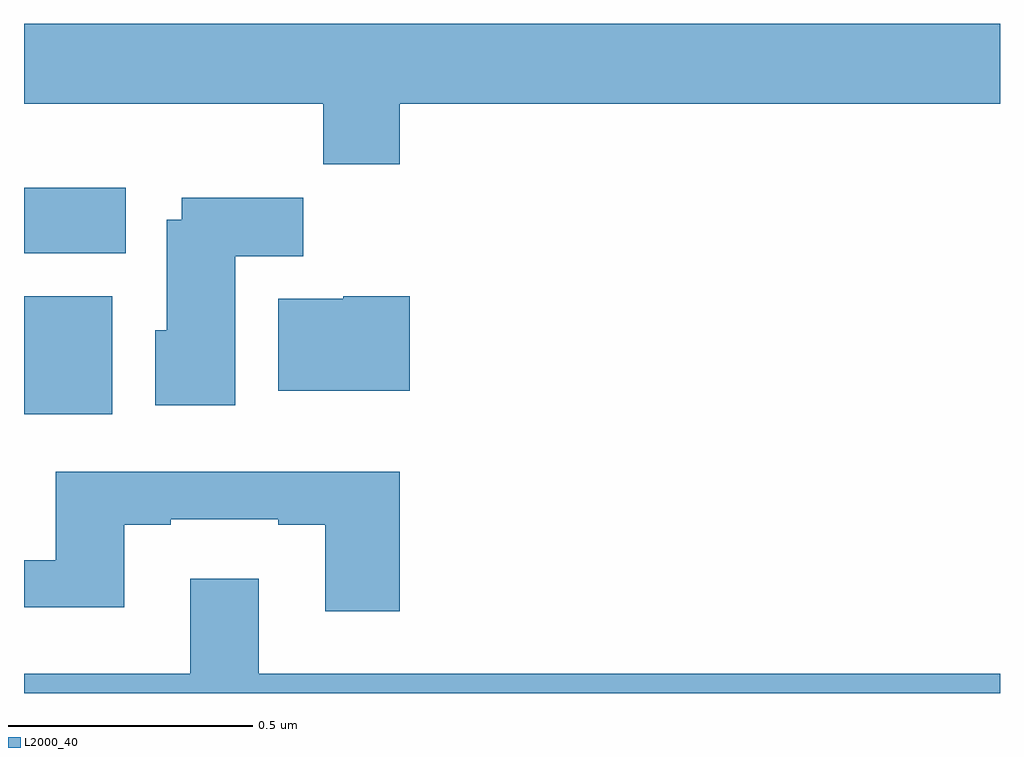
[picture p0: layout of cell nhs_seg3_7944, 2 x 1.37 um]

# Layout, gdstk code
import gdstk
lib = gdstk.Library(unit=1e-6, precision=1e-09)
def R(c, l, rs):  # rectangles x0, y0, x1, y1
    for r in rs: c.add(gdstk.rectangle(r[:2], r[2:], *l))
def P(c, l, *ps):  # polygons
    for p in ps: c.add(gdstk.Polygon(p, *l))
L2000_40 = (2000, 40)

nhs_seg3_7944 = lib.new_cell('nhs_seg3_7944')
R(nhs_seg3_7944, L2000_40, [(210,674.972,210.181,675.214), (210,675.302,210.208,675.436)])
P(nhs_seg3_7944, L2000_40, [(210.77,675.608),(212,675.608),(212,675.772),(210,675.772),(210,675.608),(210.613,675.608),(210.613,675.484),(210.77,675.484)],
  [(210.433,675.296),(210.572,675.296),(210.572,675.415),(210.323,675.415),(210.323,675.37),(210.293,675.37),(210.293,675.144),(210.269,675.144),(210.269,674.99),(210.433,674.99)],
  [(210.79,675.214),(210.654,675.214),(210.654,675.208),(210.521,675.208),(210.521,675.02),(210.79,675.02)],
  [(210.77,674.854),(210.065,674.854),(210.065,674.673),(210,674.673),(210,674.576),(210.205,674.576),(210.205,674.745),(210.301,674.745),(210.301,674.757),(210.521,674.757),(210.521,674.745),(210.617,674.745),(210.617,674.568),(210.77,674.568)],
  [(210.481,674.635),(210.341,674.635),(210.341,674.44),(210,674.44),(210,674.4),(212,674.4),(212,674.44),(210.481,674.44)])

lib.write_gds('nhs_seg3_7944.gds')
